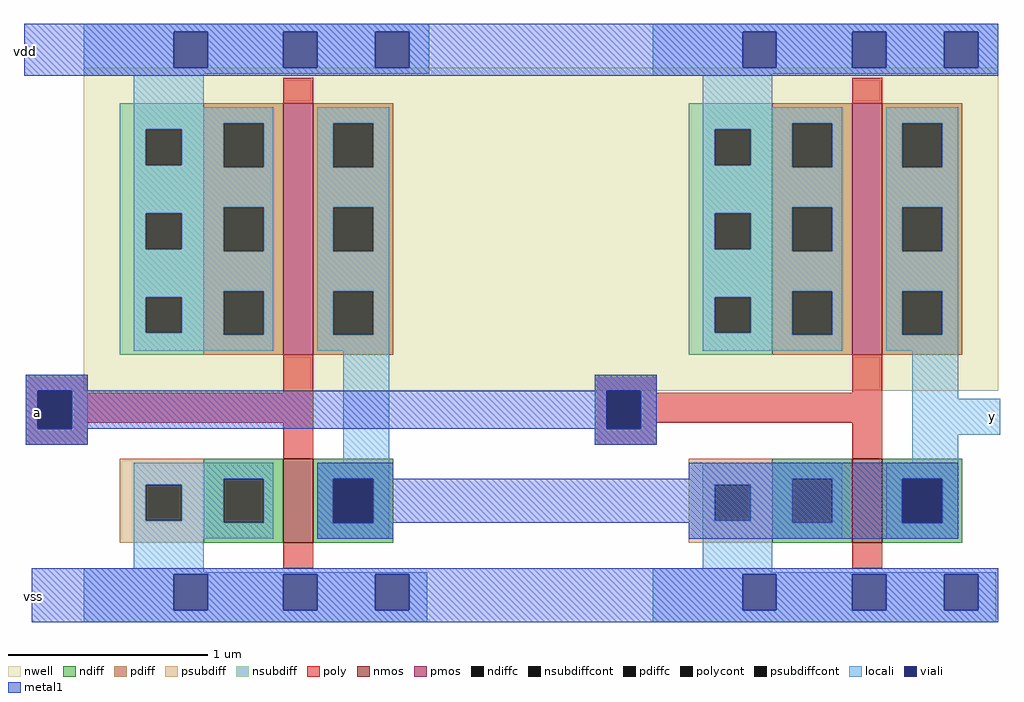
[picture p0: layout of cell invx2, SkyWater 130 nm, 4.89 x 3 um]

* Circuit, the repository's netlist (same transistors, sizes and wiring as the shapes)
* NGSPICE file created from invx2.ext - technology: sky130A

.subckt inverter vss vdd a y
X0 y a vss vss sky130_fd_pr__nfet_01v8 ad=0.168 pd=1.64 as=0.168 ps=1.64 w=0.42 l=0.15
**devattr s=1680,164 d=1680,164
X1 y a vdd vdd sky130_fd_pr__pfet_01v8 ad=0.504 pd=3.32 as=0.504 ps=3.32 w=1.26 l=0.15
**devattr s=5040,332 d=5040,332
.ends

.subckt invx2 vdd vss a y
Xinverter_0 vss vdd a y inverter
Xinverter_1 vss vdd a y inverter
.ends

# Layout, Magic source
magic
tech sky130A
<< nwell >>
rect 190 116 331 278
<< locali >>
rect 466 103 488 112
rect 464 94 488 103
<< viali >>
rect 6 97 23 116
rect 291 97 308 116
rect 154 50 174 72
rect 439 50 459 72
<< metal1 >>
rect -1 274 32 300
rect 197 274 319 300
rect 0 116 31 124
rect 285 116 316 124
rect 0 97 6 116
rect 23 97 291 116
rect 308 97 316 116
rect 0 89 31 97
rect 285 89 316 97
rect 146 72 184 80
rect 332 72 467 80
rect 146 50 154 72
rect 174 50 439 72
rect 459 50 467 72
rect 146 42 184 50
rect 332 42 467 50
rect 3 0 34 27
rect 199 0 318 27
use inverter  inverter_0
transform 1 0 129 0 1 40
box -129 -40 73 260
use inverter  inverter_1
transform 1 0 414 0 1 40
box -129 -40 73 260
<< labels >>
rlabel metal1 6 105 6 105 1 a
port 3 n
rlabel metal1 0 286 0 286 3 vdd
port 1 e
rlabel metal1 4 13 4 13 3 vss
port 2 e
rlabel locali 484 103 484 103 7 y
port 4 w
<< end >>

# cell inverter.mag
magic
tech sky130A
<< nwell >>
rect -100 76 73 238
<< nmos >>
rect 0 0 15 42
<< pmos >>
rect 0 94 15 220
<< ndiff >>
rect -40 32 0 42
rect -40 10 -30 32
rect -10 10 0 32
rect -40 0 0 10
rect 15 32 55 42
rect 15 10 25 32
rect 45 10 55 32
rect 15 0 55 10
<< pdiff >>
rect -40 210 0 220
rect -40 188 -30 210
rect -10 188 0 210
rect -40 168 0 188
rect -40 146 -30 168
rect -10 146 0 168
rect -40 126 0 146
rect -40 104 -30 126
rect -10 104 0 126
rect -40 94 0 104
rect 15 210 55 220
rect 15 188 25 210
rect 45 188 55 210
rect 15 168 55 188
rect 15 146 25 168
rect 45 146 55 168
rect 15 126 55 146
rect 15 104 25 126
rect 45 104 55 126
rect 15 94 55 104
<< ndiffc >>
rect -30 10 -10 32
rect 25 10 45 32
<< pdiffc >>
rect -30 188 -10 210
rect -30 146 -10 168
rect -30 104 -10 126
rect 25 188 45 210
rect 25 146 45 168
rect 25 104 45 126
<< psubdiff >>
rect -82 29 -40 42
rect -82 11 -69 29
rect -51 11 -40 29
rect -82 0 -40 11
<< nsubdiff >>
rect -82 207 -40 220
rect -82 189 -69 207
rect -51 189 -40 207
rect -82 165 -40 189
rect -82 147 -69 165
rect -51 147 -40 165
rect -82 123 -40 147
rect -82 105 -69 123
rect -51 105 -40 123
rect -82 94 -40 105
<< psubdiffcont >>
rect -69 11 -51 29
<< nsubdiffcont >>
rect -69 189 -51 207
rect -69 147 -51 165
rect -69 105 -51 123
<< poly >>
rect 0 220 15 233
rect -129 76 -98 84
rect -129 57 -123 76
rect -106 75 -98 76
rect 0 75 15 94
rect -106 60 15 75
rect -106 57 -98 60
rect -129 49 -98 57
rect 0 42 15 60
rect 0 -13 15 0
<< polycont >>
rect -123 57 -106 76
<< locali >>
rect -100 256 73 260
rect -100 238 -55 256
rect -38 238 0 256
rect 17 238 46 256
rect 63 238 73 256
rect -100 235 73 238
rect -100 234 -40 235
rect -75 218 -40 234
rect -75 210 -5 218
rect -75 207 -30 210
rect -75 189 -69 207
rect -51 189 -30 207
rect -75 188 -30 189
rect -10 188 -5 210
rect -75 168 -5 188
rect -75 165 -30 168
rect -75 147 -69 165
rect -51 147 -30 165
rect -75 146 -30 147
rect -10 146 -5 168
rect -75 126 -5 146
rect -75 123 -30 126
rect -75 105 -69 123
rect -51 105 -30 123
rect -75 104 -30 105
rect -10 104 -5 126
rect -75 96 -5 104
rect 17 210 53 218
rect 17 188 25 210
rect 45 188 53 210
rect 17 168 53 188
rect 17 146 25 168
rect 45 146 53 168
rect 17 126 53 146
rect 17 104 25 126
rect 45 104 53 126
rect 17 96 53 104
rect -129 76 -98 84
rect -129 57 -123 76
rect -106 57 -98 76
rect -129 49 -98 57
rect 30 40 53 96
rect -75 32 -5 40
rect -75 29 -30 32
rect -75 11 -69 29
rect -51 11 -30 29
rect -75 10 -30 11
rect -10 10 -5 32
rect -75 2 -5 10
rect 17 32 53 40
rect 17 10 25 32
rect 45 10 53 32
rect 17 2 53 10
rect -75 -13 -40 2
rect -100 -15 -40 -13
rect -100 -16 72 -15
rect -100 -34 -55 -16
rect -38 -34 0 -16
rect 17 -34 46 -16
rect 63 -34 72 -16
rect -100 -40 72 -34
<< viali >>
rect -55 238 -38 256
rect 0 238 17 256
rect 46 238 63 256
rect -55 -34 -38 -16
rect 0 -34 17 -16
rect 46 -34 63 -16
<< metal1 >>
rect -100 256 73 260
rect -100 238 -55 256
rect -38 238 0 256
rect 17 238 46 256
rect 63 238 73 256
rect -100 234 73 238
rect -100 -16 73 -13
rect -100 -34 -55 -16
rect -38 -34 0 -16
rect 17 -34 46 -16
rect 63 -34 73 -16
rect -100 -40 73 -34
<< labels >>
rlabel metal1 -100 247 -100 247 1 vdd
port 2 n
rlabel metal1 -100 -26 -100 -26 1 vss
port 1 n
rlabel locali -123 67 -123 67 1 a
port 3 n
rlabel locali 53 68 53 68 1 y
port 4 n
<< end >>
